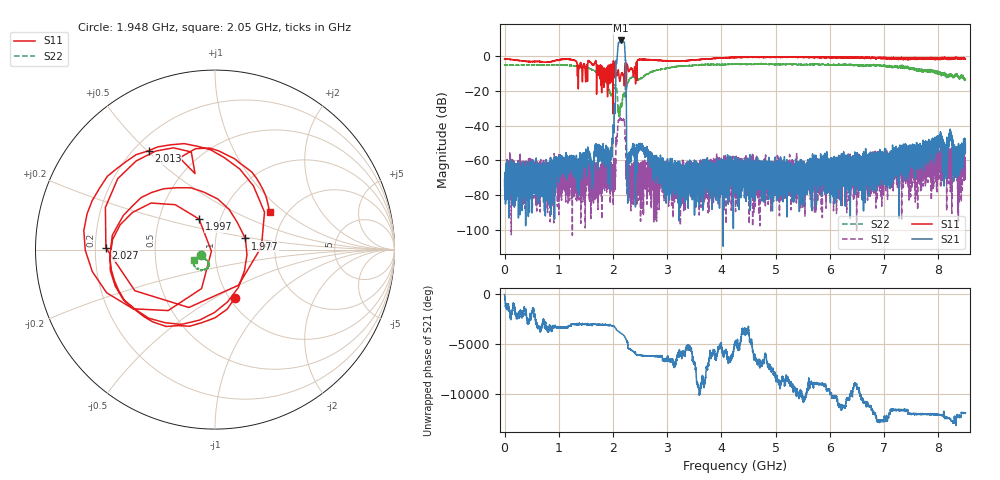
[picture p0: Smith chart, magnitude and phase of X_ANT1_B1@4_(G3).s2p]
#  HZ  S  RI  R  50.00
! Rohde & Schwarz Vector Network Analyzer
! Rohde-Schwarz,ZNBT8-20Port,1318700624101681,3.50
! Created: UTC 7/15/2025, 2:09:14 PM
! freq[Hz]  re:S1010  im:S1010  re:S0410  im:S0410  re:S1004  im:S1004  re:S44  im:S44
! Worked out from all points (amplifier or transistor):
!   8500 points, 1 MHz to 8.5 GHz, reference 50 ohm
!   highest |S21| = 9.1 dB at 2.141 GHz (marker M1)
!   |S21| within 3 dB of that: 2.094 GHz to 2.215 GHz (121.5 MHz wide, 5.64 % of centre)
!   unconditionally stable (mu >= 1): start of sweep to end of sweep
!   at 1.417 GHz: K = 1380092.45, MAG = -58.3 dB, |S12| = -73.4 dB
!   at 4.251 GHz: K = 27858.92, MAG = -47.2 dB, |S12| = -58.4 dB
!   at 8.5 GHz: K = 64290.20, MAG = -45.7 dB, |S12| = -61.6 dB
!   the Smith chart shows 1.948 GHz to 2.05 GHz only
!   S11 on the Smith chart (normalised r, x): 1.948 GHz: 1.06, -0.62; 1.977 GHz: 1.39, +0.18; 1.997 GHz: 0.79, +0.28; 2.013 GHz: 0.26, +0.50; 2.027 GHz: 0.24, +0.01; 2.05 GHz: 1.63, +0.80
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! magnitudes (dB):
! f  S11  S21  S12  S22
! 1 MHz  -1.7  -71.3  -72.1  -5.1
! 1.418 GHz  -5.1  -63.8  -70.8  -6.2
! 1.948 GHz  -10.7  -60.0  -64.1  -21.4
! 1.977 GHz  -14.9  -55.5  -75.4  -22.5
! 1.997 GHz  -14.3  -47.9  -73.0  -20.2
! 2.013 GHz  -3.6  -43.1  -64.3  -18.2
! 2.027 GHz  -4.3  -27.6  -62.2  -17.1
! 2.05 GHz  -8.6  -15.2  -61.7  -17.6
! 2.092 GHz  -8.2  5.4  -39.3  -30.1
! 2.141 GHz  -12.0  9.1  -35.8  -28.6
! 2.205 GHz  -13.3  8.0  -37.0  -22.2
! 2.293 GHz  -8.6  -57.7  -71.4  -13.9
! 2.517 GHz  -2.0  -51.1  -66.1  -12.7
! 2.834 GHz  -2.4  -60.8  -73.8  -8.0
! 4.251 GHz  -0.6  -57.9  -58.4  -4.6
! 5.667 GHz  -0.3  -60.6  -74.5  -4.6
! 7.084 GHz  -1.1  -58.5  -73.4  -5.7
! 8.017 GHz  -1.4  -46.7  -55.7  -9.0
! 8.115 GHz  -0.6  -70.9  -54.0  -10.3
! 8.219 GHz  -1.9  -44.6  -63.5  -11.2
! 8.317 GHz  -1.2  -56.3  -56.6  -10.7
! 8.5 GHz  -1.7  -50.7  -61.6  -12.7
